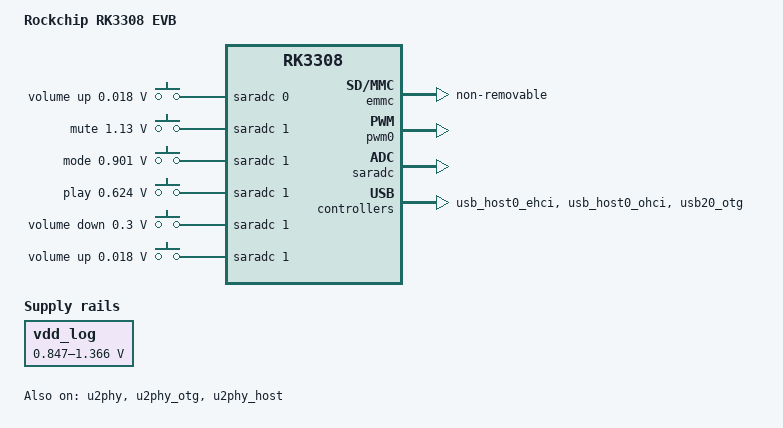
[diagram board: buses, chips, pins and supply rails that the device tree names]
/*
 * (C) Copyright 2018 Rockchip Electronics Co., Ltd
 *
 * SPDX-License-Identifier:     GPL-2.0+
 */

/dts-v1/;
#include "rk3308.dtsi"
#include <dt-bindings/input/input.h>

/ {
	model = "Rockchip RK3308 EVB";
	compatible = "rockchip,rk3308-evb", "rockchip,rk3308";

	chosen {
		stdout-path = "serial2:1500000n8";
	};

	adc-keys0 {
		compatible = "adc-keys";
		io-channels = <&saradc 0>;
		io-channel-names = "buttons";
		poll-interval = <100>;
		keyup-threshold-microvolt = <1800000>;

		vol-up-key {
			linux,code = <KEY_VOLUMEUP>;
			label = "volume up";
			press-threshold-microvolt = <18000>;
		};
	};

	adc-keys1 {
		compatible = "adc-keys";
		io-channels = <&saradc 1>;
		io-channel-names = "buttons";
		poll-interval = <100>;
		keyup-threshold-microvolt = <1800000>;

		esc-key {
			linux,code = <KEY_MUTE>;
			label = "mute";
			press-threshold-microvolt = <1130000>;
		};

		home-key {
			linux,code = <KEY_MODE>;
			label = "mode";
			press-threshold-microvolt = <901000>;
		};

		menu-key {
			linux,code = <KEY_PLAY>;
			label = "play";
			press-threshold-microvolt = <624000>;
		};

		vol-down-key {
			linux,code = <KEY_VOLUMEDOWN>;
			label = "volume down";
			press-threshold-microvolt = <300000>;
		};

		vol-up-key {
			linux,code = <KEY_VOLUMEUP>;
			label = "volume up";
			press-threshold-microvolt = <18000>;
		};
	};

	vdd_log: vdd_core: vdd-core {
		compatible = "pwm-regulator";
		pwms = <&pwm0 0 5000 1>;
		regulator-name = "vdd_core";
		regulator-min-microvolt = <847000>;
		regulator-max-microvolt = <1366000>;
		regulator-init-microvolt  = <1044000>;
		regulator-always-on;
		regulator-boot-on;
		status = "okay";
	};

};

&emmc {
	cap-mmc-highspeed;
	mmc-hs200-1_8v;
	supports-emmc;
	non-removable;
	num-slots = <1>;
	status = "okay";
};

&pwm0 {
	status = "okay";
};

&saradc {
	status = "okay";
};

&u2phy {
	status = "okay";
};

&u2phy_otg {
	status = "okay";
};

&u2phy_host {
	status = "okay";
};

&usb_host0_ehci {
	status = "okay";
};

&usb_host0_ohci {
	status = "okay";
};

&usb20_otg {
	status = "okay";
};
